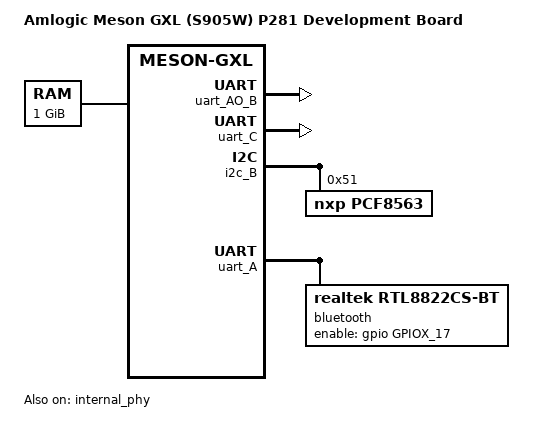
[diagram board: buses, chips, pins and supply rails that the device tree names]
// SPDX-License-Identifier: (GPL-2.0+ OR MIT)
/*
 * Copyright (c) 2018 Martin Blumenstingl <martin.blumenstingl@googlemail.com>.
 * Based on meson-gxl-s905d-p231.dts:
 * - Copyright (c) 2016 Endless Computers, Inc.
 *   Author: Carlo Caione <carlo@endlessm.com>
 */

/dts-v1/;

#include "meson-gxl-s905x.dtsi"
#include "meson-gx-p23x-q20x.dtsi"

/ {
	compatible = "amlogic,p281", "amlogic,s905w", "amlogic,meson-gxl";
	model = "Amlogic Meson GXL (S905W) P281 Development Board";

	memory@0 {
		device_type = "memory";
		reg = <0x0 0x0 0x0 0x40000000>;
	};

	// It is necessary only as key map to read efuse values from nvmem from Armbian OS.
	efusekey:efusekey{
		keynum = <4>;
		key0 = <&key_0>;
		key1 = <&key_1>;
		key2 = <&key_2>;
		key3 = <&key_3>;
		key_0:key_0{
			keyname = "mac";
			offset = <0>;
			size = <6>;
		};
		key_1:key_1{
			keyname = "mac_bt";
			offset = <6>;
			size = <6>;
		};
		key_2:key_2{
			keyname = "mac_wifi";
			offset = <12>;
			size = <6>;
		};
		key_3:key_3{
			keyname = "usid";
			offset = <18>;
			size = <32>;
		};
	};
};

&internal_phy {
	status = "okay";
	pinctrl-0 = <&eth_link_led_pins>, <&eth_act_led_pins>;
	pinctrl-names = "default";
};

&uart_AO_B {
	status = "okay";
	pinctrl-0 = <&uart_ao_b_pins>, <&uart_ao_b_cts_rts_pins>;
	pinctrl-names = "default";
	uart-has-rtscts;
};

&uart_C {
	status = "okay";
	pinctrl-0 = <&uart_c_pins>;
	pinctrl-names = "default";
};

&i2c_B {
	status = "okay";
	pinctrl-names="default";
	pinctrl-0=<&i2c_b_pins>;

	pcf8563: pcf8563@51 {
		compatible = "nxp,pcf8563";
		reg = <0x51>;
		status = "okay";
	};
};

&uart_A {
	status = "okay";
	pinctrl-0 = <&uart_a_pins>, <&uart_a_cts_rts_pins>;
	pinctrl-names = "default";
	uart-has-rtscts;

	bluetooth {
		compatible = "realtek,rtl8822cs-bt";
		enable-gpios = <&gpio GPIOX_17 GPIO_ACTIVE_HIGH>;
	};

};

&acodec {
	status = "disabled";
};

&aiu {
	status = "disabled";
};

&cec_AO {
	status = "disabled";
};

&hdmi_tx {
	status = "disabled";
};

&ir {
	status = "disabled";
};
